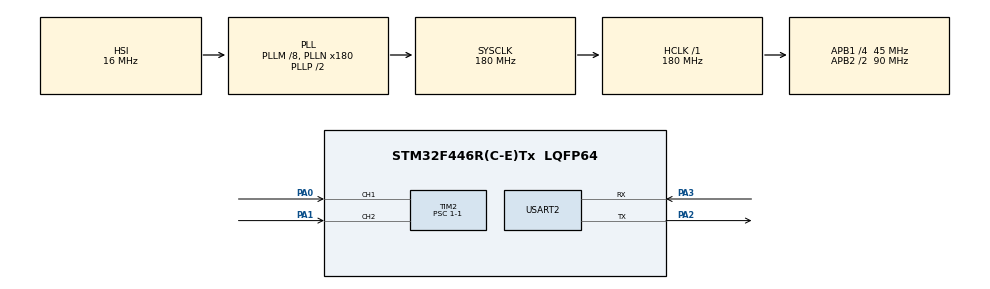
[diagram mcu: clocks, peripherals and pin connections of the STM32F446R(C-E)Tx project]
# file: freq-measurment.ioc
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Mcu.Family=STM32F4
Mcu.Name=STM32F446R(C-E)Tx
Mcu.Package=LQFP64
NVIC.PriorityGroup=NVIC_PRIORITYGROUP_4
NVIC.TIM2_IRQn=true\:0\:0\:false\:false\:true\:true\:true
PA0-WKUP.Signal=S_TIM2_CH1_ETR
PA1.Signal=S_TIM2_CH2
PA2.Mode=Asynchronous
PA2.Signal=USART2_TX
PA3.Mode=Asynchronous
PA3.Signal=USART2_RX
PH0-OSC_IN.Mode=HSE-External-Oscillator
PH0-OSC_IN.Signal=RCC_OSC_IN
PH1-OSC_OUT.Mode=HSE-External-Oscillator
PH1-OSC_OUT.Signal=RCC_OSC_OUT
ProjectManager.HeapSize=0x200
ProjectManager.StackSize=0x400
ProjectManager.TargetToolchain=STM32CubeIDE
RCC.AHBFreq_Value=180000000
RCC.APB1CLKDivider=RCC_HCLK_DIV4
RCC.APB1Freq_Value=45000000
RCC.APB1TimFreq_Value=90000000
RCC.APB2CLKDivider=RCC_HCLK_DIV2
RCC.APB2Freq_Value=90000000
RCC.APB2TimFreq_Value=180000000
RCC.CortexFreq_Value=180000000
RCC.HCLKFreq_Value=180000000
RCC.HSE_VALUE=26000000
RCC.PLLM=8
RCC.PLLN=180
RCC.SYSCLKFreq_VALUE=180000000
RCC.SYSCLKSource=RCC_SYSCLKSOURCE_PLLCLK
RCC.USBFreq_Value=180000000
RCC.VCOOutputFreq_Value=360000000
SH.S_TIM2_CH1_ETR.0=TIM2_CH1,Input_Capture1_from_TI1
SH.S_TIM2_CH2.0=TIM2_CH2,Input_Capture2_from_TI2
TIM2.Channel-Input_Capture1_from_TI1=TIM_CHANNEL_1
TIM2.Channel-Input_Capture2_from_TI2=TIM_CHANNEL_2
TIM2.ICPolarity_CH1=TIM_INPUTCHANNELPOLARITY_FALLING
TIM2.Period=0xffffffff-1
TIM2.Prescaler=1-1
USART2.VirtualMode=VM_ASYNC
board=custom

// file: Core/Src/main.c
/* USER CODE BEGIN Header */
/**
  ******************************************************************************
  * @file           : main.c
  * @brief          : Main program body
  ******************************************************************************
  * @attention
  *
  * <h2><center>&copy; Copyright (c) 2020 STMicroelectronics.
  * All rights reserved.</center></h2>
  *
  * This software component is licensed by ST under BSD 3-Clause license,
  * the "License"; You may not use this file except in compliance with the
  * License. You may obtain a copy of the License at:
  *                        opensource.org/licenses/BSD-3-Clause
  *
  ******************************************************************************
  */
/* USER CODE END Header */

#include "main.h"

TIM_HandleTypeDef htim2;

UART_HandleTypeDef huart2;

void SystemClock_Config(void);
static void MX_GPIO_Init(void);
static void MX_USART2_UART_Init(void);
static void MX_TIM2_Init(void);

/* USER CODE BEGIN 0 */
uint32_t IC_Value1 = 0;
uint32_t IC_Value2 = 0;
uint32_t Difference = 0;
uint32_t Frequency;

uint8_t Is_Fisrt_Captured = 0;

char buffer[9];
int i;

void HAL_TIM_IC_CaptureCallback(TIM_HandleTypeDef *htim){
	Frequency = 0;
	if(htim->Channel == HAL_TIM_ACTIVE_CHANNEL_1){
		if(Is_Fisrt_Captured == 0){
			IC_Value1 = HAL_TIM_ReadCapturedValue(htim, TIM_CHANNEL_1);
			Is_Fisrt_Captured = 1;
		}

		else  if(Is_Fisrt_Captured == 1){
			IC_Value2 = HAL_TIM_ReadCapturedValue(htim, TIM_CHANNEL_1);
			if(IC_Value1 > IC_Value2){
				Difference = IC_Value2 - IC_Value1;
			}
			else if(IC_Value1 < IC_Value2){
				Difference = ((0xffff-IC_Value1)+IC_Value2) + 1;
			}
			else{
				Error_Handler();
			}

			Frequency = HAL_RCC_GetPCLK1Freq()/Difference;
			Is_Fisrt_Captured = 0;
		}
	}

	/*if(htim->Channel == HAL_TIM_ACTIVE_CHANNEL_2){
			if(Is_Fisrt_Captured == 0){
				IC_Value1 = HAL_TIM_ReadCapturedValue(htim, TIM_CHANNEL_1);
				Is_Fisrt_Captured = 1;
			}

			else  if(Is_Fisrt_Captured == 1){
				IC_Value2 = HAL_TIM_ReadCapturedValue(htim, TIM_CHANNEL_1);
				if(IC_Value1 > IC_Value2){
					Difference = IC_Value2 - IC_Value1;
				}
				else if(IC_Value1 < IC_Value2){
					Difference = ((0xffff-IC_Value1)+IC_Value2) + 1;
				}
				else{
					Error_Handler();
				}

				Frequency = HAL_RCC_GetPCLK1Freq()/Difference;
				Is_Fisrt_Captured = 0;
			}
		}*/

}

/* USER CODE END 0 */

int main(void)
{

  /* MCU Configuration--------------------------------------------------------*/

  /* Reset of all peripherals, Initializes the Flash interface and the Systick. */
  HAL_Init();

  /* Configure the system clock */
  SystemClock_Config();

  /* Initialize all configured peripherals */
  MX_GPIO_Init();
  MX_USART2_UART_Init();
  MX_TIM2_Init();
  /* USER CODE BEGIN 2 */

  HAL_TIM_IC_Start_IT(&htim2, TIM_CHANNEL_1);
  //HAL_TIM_IC_Start_IT(&htim2, TIM_CHANNEL_2);

  /* USER CODE END 2 */

  /* Infinite loop */
  while (1)
  {

    /* USER CODE BEGIN 3 */
	  if(Is_Fisrt_Captured == 1){
		  i = Frequency*2;
		  HAL_UART_Transmit(&huart2, (uint8_t*)buffer, sprintf(buffer, "%i\r\n", i), 100);
		  HAL_Delay(1);
	  }
  }
  /* USER CODE END 3 */
}

void SystemClock_Config(void)
{
  RCC_OscInitTypeDef RCC_OscInitStruct = {0};
  RCC_ClkInitTypeDef RCC_ClkInitStruct = {0};

  /** Configure the main internal regulator output voltage
  */
  __HAL_RCC_PWR_CLK_ENABLE();
  __HAL_PWR_VOLTAGESCALING_CONFIG(PWR_REGULATOR_VOLTAGE_SCALE1);
  /** Initializes the CPU, AHB and APB busses clocks
  */
  RCC_OscInitStruct.OscillatorType = RCC_OSCILLATORTYPE_HSI;
  RCC_OscInitStruct.HSIState = RCC_HSI_ON;
  RCC_OscInitStruct.HSICalibrationValue = RCC_HSICALIBRATION_DEFAULT;
  RCC_OscInitStruct.PLL.PLLState = RCC_PLL_ON;
  RCC_OscInitStruct.PLL.PLLSource = RCC_PLLSOURCE_HSI;
  RCC_OscInitStruct.PLL.PLLM = 8;
  RCC_OscInitStruct.PLL.PLLN = 180;
  RCC_OscInitStruct.PLL.PLLP = RCC_PLLP_DIV2;
  RCC_OscInitStruct.PLL.PLLQ = 2;
  RCC_OscInitStruct.PLL.PLLR = 2;
  if (HAL_RCC_OscConfig(&RCC_OscInitStruct) != HAL_OK)
  {
    Error_Handler();
  }
  /** Activate the Over-Drive mode
  */
  if (HAL_PWREx_EnableOverDrive() != HAL_OK)
  {
    Error_Handler();
  }
  /** Initializes the CPU, AHB and APB busses clocks
  */
  RCC_ClkInitStruct.ClockType = RCC_CLOCKTYPE_HCLK|RCC_CLOCKTYPE_SYSCLK
                              |RCC_CLOCKTYPE_PCLK1|RCC_CLOCKTYPE_PCLK2;
  RCC_ClkInitStruct.SYSCLKSource = RCC_SYSCLKSOURCE_PLLCLK;
  RCC_ClkInitStruct.AHBCLKDivider = RCC_SYSCLK_DIV1;
  RCC_ClkInitStruct.APB1CLKDivider = RCC_HCLK_DIV4;
  RCC_ClkInitStruct.APB2CLKDivider = RCC_HCLK_DIV2;

  if (HAL_RCC_ClockConfig(&RCC_ClkInitStruct, FLASH_LATENCY_5) != HAL_OK)
  {
    Error_Handler();
  }
}

static void MX_TIM2_Init(void)
{

  TIM_MasterConfigTypeDef sMasterConfig = {0};
  TIM_IC_InitTypeDef sConfigIC = {0};

  htim2.Instance = TIM2;
  htim2.Init.Prescaler = 1-1;
  htim2.Init.CounterMode = TIM_COUNTERMODE_UP;
  htim2.Init.Period = 0xffffffff-1;
  htim2.Init.ClockDivision = TIM_CLOCKDIVISION_DIV1;
  htim2.Init.AutoReloadPreload = TIM_AUTORELOAD_PRELOAD_DISABLE;
  if (HAL_TIM_IC_Init(&htim2) != HAL_OK)
  {
    Error_Handler();
  }
  sMasterConfig.MasterOutputTrigger = TIM_TRGO_RESET;
  sMasterConfig.MasterSlaveMode = TIM_MASTERSLAVEMODE_DISABLE;
  if (HAL_TIMEx_MasterConfigSynchronization(&htim2, &sMasterConfig) != HAL_OK)
  {
    Error_Handler();
  }
  sConfigIC.ICPolarity = TIM_INPUTCHANNELPOLARITY_FALLING;
  sConfigIC.ICSelection = TIM_ICSELECTION_DIRECTTI;
  sConfigIC.ICPrescaler = TIM_ICPSC_DIV1;
  sConfigIC.ICFilter = 0;
  if (HAL_TIM_IC_ConfigChannel(&htim2, &sConfigIC, TIM_CHANNEL_1) != HAL_OK)
  {
    Error_Handler();
  }
  sConfigIC.ICPolarity = TIM_INPUTCHANNELPOLARITY_RISING;
  if (HAL_TIM_IC_ConfigChannel(&htim2, &sConfigIC, TIM_CHANNEL_2) != HAL_OK)
  {
    Error_Handler();
  }

}

static void MX_USART2_UART_Init(void)
{

  huart2.Instance = USART2;
  huart2.Init.BaudRate = 115200;
  huart2.Init.WordLength = UART_WORDLENGTH_8B;
  huart2.Init.StopBits = UART_STOPBITS_1;
  huart2.Init.Parity = UART_PARITY_NONE;
  huart2.Init.Mode = UART_MODE_TX_RX;
  huart2.Init.HwFlowCtl = UART_HWCONTROL_NONE;
  huart2.Init.OverSampling = UART_OVERSAMPLING_16;
  if (HAL_UART_Init(&huart2) != HAL_OK)
  {
    Error_Handler();
  }

}

static void MX_GPIO_Init(void)
{

  /* GPIO Ports Clock Enable */
  __HAL_RCC_GPIOH_CLK_ENABLE();
  __HAL_RCC_GPIOA_CLK_ENABLE();

}

void Error_Handler(void)
{
}

/************************ (C) COPYRIGHT STMicroelectronics *****END OF FILE****/
